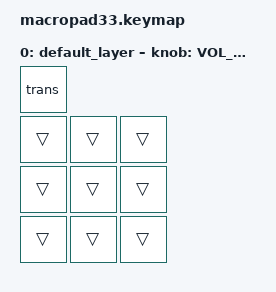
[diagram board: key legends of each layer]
/*
 * Copyright (c) 2020 The ZMK Contributors
 *
 * SPDX-License-Identifier: MIT
 */

#include <behaviors.dtsi>
#include <dt-bindings/zmk/keys.h>
#include <dt-bindings/zmk/bt.h>
#include <dt-bindings/zmk/rgb.h>

/ {
        keymap {
                compatible = "zmk,keymap";

                default_layer {
// --------------------------------
// |  trans  |
// |  trans  |  trans  |  trans  |
// |  trans  |  trans  |  trans  |
// |  trans  |  trans  |  trans  |                        
                bindings = <
                        &kp trans
                        &trans  &trans  &trans
                        &trans  &trans  &trans
                        &trans  &trans  &trans
                        >;
                        
                sensor-bindings = <&inc_dec_kp C_VOL_UP C_VOL_DN>;
                };

        };
};
